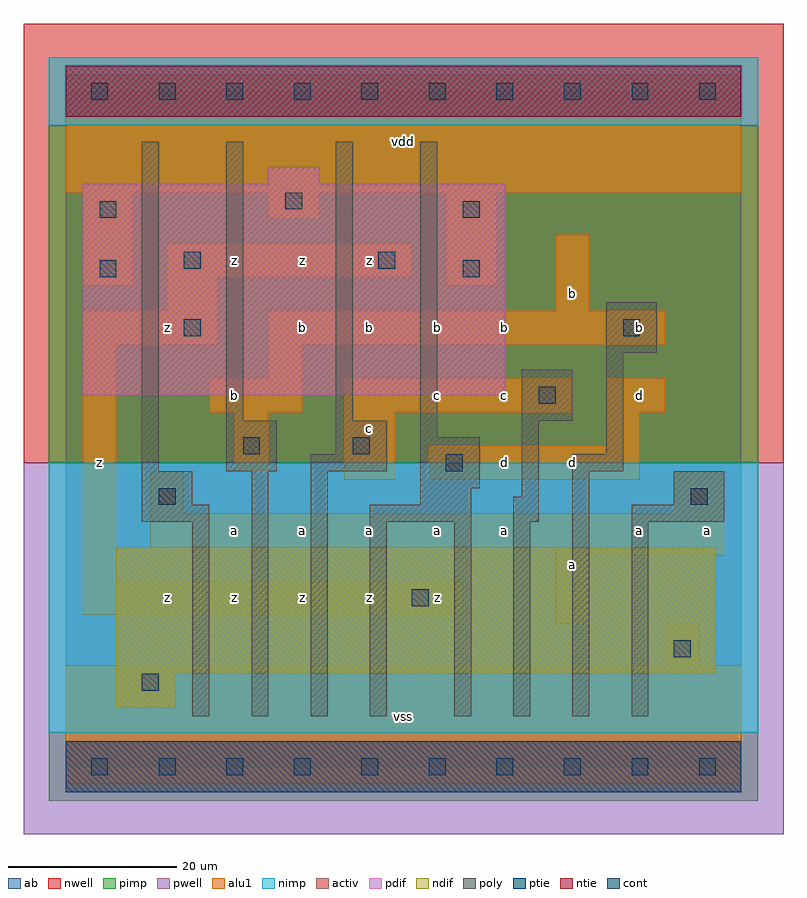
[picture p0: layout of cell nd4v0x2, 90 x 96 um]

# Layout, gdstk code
import gdstk
lib = gdstk.Library(unit=1e-6, precision=1e-09)
def R(c, l, rs):  # rectangles x0, y0, x1, y1
    for r in rs: c.add(gdstk.rectangle(r[:2], r[2:], *l))
def A(c, l, x, y, w, h, nx, ny, dx, dy):  # array of equal rectangles
    R(c, l, [(x+i*dx, y+j*dy, x+i*dx+w, y+j*dy+h) for i in range(nx) for j in range(ny)])
ndif = (3, 0)
pdif = (4, 0)
ntie = (5, 0)
ptie = (6, 0)
cont = (25, 0)
pwell = (41, 0)
nwell = (42, 0)
activ = (43, 0)
pimp = (44, 0)
nimp = (45, 0)
poly = (46, 0)
alu1 = (49, 0)
ab = (63, 0)

nd4v0x2 = lib.new_cell('nd4v0x2')
R(nd4v0x2, ndif, [(6,7,13,11), (6,11,77,26)])
R(nd4v0x2, pdif, [(2,44,52,69), (24,69,30,71)])
R(nd4v0x2, ntie, [(0,77,80,83)])
R(nd4v0x2, ptie, [(0,-3,80,3)])
A(nd4v0x2, cont, 3, -1, 2, 2, 10, 2, 8, 80)
R(nd4v0x2, cont, [(9,9,11,11), (72,13,74,15), (41,19,43,21), (11,31,13,33), (74,31,76,33), (45,35,47,37), (21,37,23,39), (34,37,36,39), (56,43,58,45), (14,51,16,53), (66,51,68,53), (4,58,6,60), (47,58,49,60), (14,59,16,61), (37,59,39,61), (4,65,6,67), (47,65,49,67), (26,66,28,68)])
R(nd4v0x2, pwell, [(-5,-8,85,36)])
R(nd4v0x2, nwell, [(-5,36,85,88)])
R(nd4v0x2, activ, [(0,-3,80,3), (6,7,13,11), (6,11,77,26), (2,44,52,69), (24,69,30,71), (0,77,80,83)])
R(nd4v0x2, pimp, [(-2,-4,82,4), (-2,36,82,76)])
R(nd4v0x2, nimp, [(-2,4,82,36), (-2,76,82,84)])
R(nd4v0x2, poly, [(15,6,17,29), (22,6,24,35), (29,6,31,35), (36,6,38,29), (46,6,48,29), (53,6,55,29), (60,6,62,35), (67,6,69,29), (9,29,17,31), (36,29,48,31), (53,29,56,32), (67,29,78,31), (9,31,15,35), (42,31,48,33), (72,31,78,35), (54,32,56,41), (42,33,49,39), (9,35,11,74), (19,35,25,41), (29,35,38,37), (60,35,66,37), (32,37,38,41), (64,37,66,49), (42,39,44,74), (19,41,21,74), (32,41,34,74), (54,41,60,47), (64,49,70,55)])
R(nd4v0x2, alu1, [(0,-2,80,12), (71,12,75,17), (58,17,62,25), (2,18,47,22), (2,22,6,50), (58,25,78,26), (10,26,78,30), (10,30,14,35), (72,30,78,35), (33,34,39,42), (43,34,68,38), (20,35,24,42), (64,38,68,42), (17,42,28,46), (33,42,60,46), (64,42,71,46), (24,46,28,50), (2,50,18,54), (24,50,71,54), (12,54,18,58), (58,54,62,63), (2,57,8,68), (45,57,51,68), (12,58,41,62), (24,65,30,68), (0,68,80,82)])
R(nd4v0x2, ab, [(0,0,80,80)])
nd4v0x2.add(gdstk.Label('z', (4,36), layer=49, texttype=0))
nd4v0x2.add(gdstk.Label('z', (12,20), layer=49, texttype=0))
nd4v0x2.add(gdstk.Label('z', (20,20), layer=49, texttype=0))
nd4v0x2.add(gdstk.Label('a', (20,28), layer=49, texttype=0))
nd4v0x2.add(gdstk.Label('z', (28,20), layer=49, texttype=0))
nd4v0x2.add(gdstk.Label('a', (28,28), layer=49, texttype=0))
nd4v0x2.add(gdstk.Label('b', (20,44), layer=49, texttype=0))
nd4v0x2.add(gdstk.Label('b', (28,52), layer=49, texttype=0))
nd4v0x2.add(gdstk.Label('z', (12,52), layer=49, texttype=0))
nd4v0x2.add(gdstk.Label('z', (20,60), layer=49, texttype=0))
nd4v0x2.add(gdstk.Label('z', (28,60), layer=49, texttype=0))
nd4v0x2.add(gdstk.Label('vss', (40,6), layer=49, texttype=0))
nd4v0x2.add(gdstk.Label('z', (36,20), layer=49, texttype=0))
nd4v0x2.add(gdstk.Label('a', (36,28), layer=49, texttype=0))
nd4v0x2.add(gdstk.Label('z', (44,20), layer=49, texttype=0))
nd4v0x2.add(gdstk.Label('a', (44,28), layer=49, texttype=0))
nd4v0x2.add(gdstk.Label('c', (36,40), layer=49, texttype=0))
nd4v0x2.add(gdstk.Label('c', (44,44), layer=49, texttype=0))
nd4v0x2.add(gdstk.Label('b', (36,52), layer=49, texttype=0))
nd4v0x2.add(gdstk.Label('b', (44,52), layer=49, texttype=0))
nd4v0x2.add(gdstk.Label('z', (36,60), layer=49, texttype=0))
nd4v0x2.add(gdstk.Label('vdd', (40,74), layer=49, texttype=0))
nd4v0x2.add(gdstk.Label('a', (52,28), layer=49, texttype=0))
nd4v0x2.add(gdstk.Label('a', (60,24), layer=49, texttype=0))
nd4v0x2.add(gdstk.Label('d', (52,36), layer=49, texttype=0))
nd4v0x2.add(gdstk.Label('c', (52,44), layer=49, texttype=0))
nd4v0x2.add(gdstk.Label('d', (60,36), layer=49, texttype=0))
nd4v0x2.add(gdstk.Label('b', (52,52), layer=49, texttype=0))
nd4v0x2.add(gdstk.Label('b', (60,56), layer=49, texttype=0))
nd4v0x2.add(gdstk.Label('a', (68,28), layer=49, texttype=0))
nd4v0x2.add(gdstk.Label('a', (76,28), layer=49, texttype=0))
nd4v0x2.add(gdstk.Label('d', (68,44), layer=49, texttype=0))
nd4v0x2.add(gdstk.Label('b', (68,52), layer=49, texttype=0))

lib.write_gds('nd4v0x2.gds')
